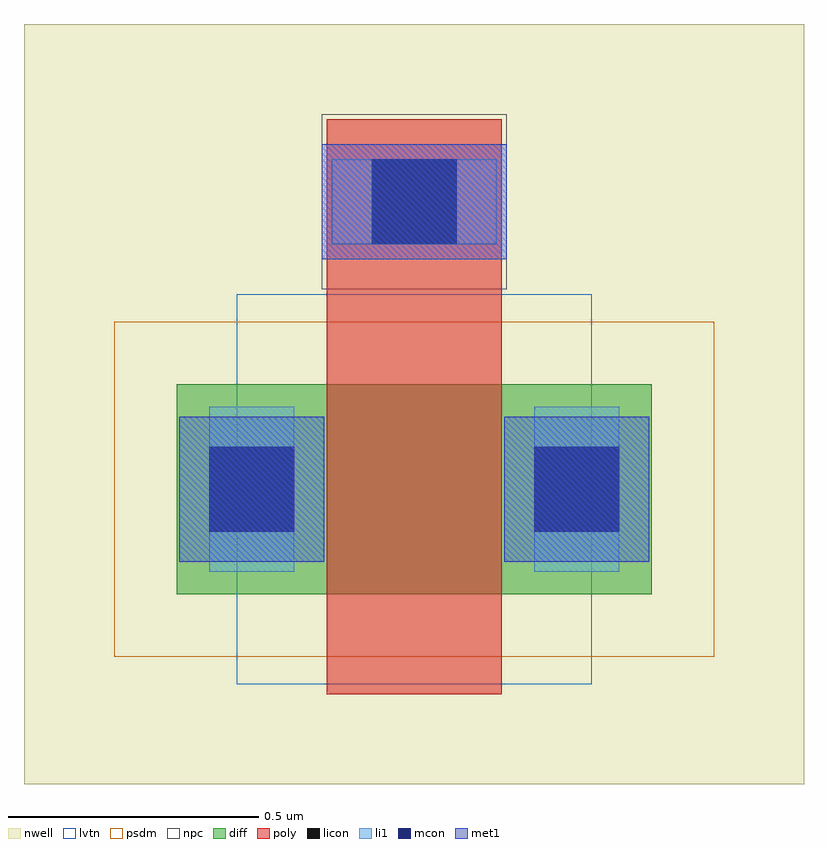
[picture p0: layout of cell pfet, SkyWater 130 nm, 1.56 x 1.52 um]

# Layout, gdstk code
import gdstk
lib = gdstk.Library(unit=1e-6, precision=1e-09)
def R(c, l, rs):  # rectangles x0, y0, x1, y1
    for r in rs: c.add(gdstk.rectangle(r[:2], r[2:], *l))
nwell = (64, 20)
diff = (65, 20)
poly = (66, 20)
licon = (66, 44)
li1 = (67, 20)
mcon = (67, 44)
met1 = (68, 20)
psdm = (94, 20)
npc = (95, 20)
lvtn = (125, 44)

pfet = lib.new_cell('pfet')
R(pfet, nwell, [(-0.305,-0.38,1.255,1.14)])
R(pfet, diff, [(0,0,0.95,0.42)])
R(pfet, poly, [(0.3,-0.2,0.65,0.62), (0.3,0.62,0.65,0.95)])
R(pfet, licon, [(0.065,0.125,0.235,0.295), (0.715,0.125,0.885,0.295), (0.39,0.7,0.56,0.87)])
R(pfet, li1, [(0.065,0.045,0.235,0.375), (0.715,0.045,0.885,0.375), (0.31,0.7,0.64,0.87)])
R(pfet, mcon, [(0.065,0.125,0.235,0.295), (0.715,0.125,0.885,0.295), (0.39,0.7,0.56,0.87)])
R(pfet, met1, [(0.005,0.065,0.295,0.355), (0.655,0.065,0.945,0.355), (0.29,0.67,0.66,0.9)])
R(pfet, psdm, [(-0.125,-0.125,1.075,0.545)])
R(pfet, npc, [(0.29,0.61,0.66,0.96)])
R(pfet, lvtn, [(0.12,-0.18,0.83,0.6)])

lib.write_gds('pfet.gds')
